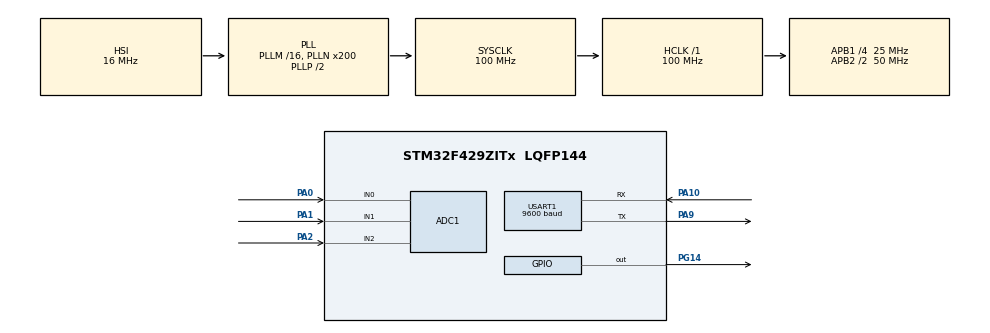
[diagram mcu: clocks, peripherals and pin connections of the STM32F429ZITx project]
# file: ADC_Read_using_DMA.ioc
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ADC1.Channel-0\#ChannelRegularConversion=ADC_CHANNEL_0
ADC1.Channel-1\#ChannelRegularConversion=ADC_CHANNEL_1
ADC1.Channel-2\#ChannelRegularConversion=ADC_CHANNEL_2
ADC1.DMAContinuousRequests=ENABLE
ADC1.EOCSelection=ADC_EOC_SEQ_CONV
ADC1.ExternalTrigConv=ADC_EXTERNALTRIGCONV_T2_TRGO
ADC1.NbrOfConversion=3
ADC1.NbrOfConversionFlag=1
ADC1.Rank-0\#ChannelRegularConversion=1
ADC1.Rank-1\#ChannelRegularConversion=2
ADC1.Rank-2\#ChannelRegularConversion=3
ADC1.SamplingTime-0\#ChannelRegularConversion=ADC_SAMPLETIME_3CYCLES
ADC1.SamplingTime-1\#ChannelRegularConversion=ADC_SAMPLETIME_3CYCLES
ADC1.SamplingTime-2\#ChannelRegularConversion=ADC_SAMPLETIME_3CYCLES
ADC1.ScanConvMode=ENABLE
ADC1.master=1
Dma.ADC1.0.Direction=DMA_PERIPH_TO_MEMORY
Dma.ADC1.0.FIFOMode=DMA_FIFOMODE_DISABLE
Dma.ADC1.0.Instance=DMA2_Stream0
Dma.ADC1.0.MemDataAlignment=DMA_MDATAALIGN_HALFWORD
Dma.ADC1.0.MemInc=DMA_MINC_ENABLE
Dma.ADC1.0.Mode=DMA_CIRCULAR
Dma.ADC1.0.PeriphDataAlignment=DMA_PDATAALIGN_HALFWORD
Dma.ADC1.0.PeriphInc=DMA_PINC_DISABLE
Dma.ADC1.0.Priority=DMA_PRIORITY_MEDIUM
Dma.Request0=ADC1
Mcu.Family=STM32F4
Mcu.Name=STM32F429ZITx
Mcu.Package=LQFP144
NVIC.DMA2_Stream0_IRQn=true\:0\:0\:false\:false\:true\:false\:true\:true
NVIC.PriorityGroup=NVIC_PRIORITYGROUP_4
NVIC.USART1_IRQn=true\:0\:0\:false\:false\:true\:true\:true\:true
PA0/WKUP.Signal=ADCx_IN0
PA1.Signal=ADCx_IN1
PA10.Mode=Asynchronous
PA10.Signal=USART1_RX
PA2.Signal=ADCx_IN2
PA9.Mode=Asynchronous
PA9.Signal=USART1_TX
PG14.Signal=GPIO_Output
ProjectManager.HeapSize=0x200
ProjectManager.StackSize=0x400
ProjectManager.TargetToolchain=STM32CubeIDE
RCC.48MHZClocksFreq_Value=66666666.666666664
RCC.AHBFreq_Value=100000000
RCC.APB1CLKDivider=RCC_HCLK_DIV4
RCC.APB1Freq_Value=25000000
RCC.APB1TimFreq_Value=50000000
RCC.APB2CLKDivider=RCC_HCLK_DIV2
RCC.APB2Freq_Value=50000000
RCC.APB2TimFreq_Value=100000000
RCC.CortexFreq_Value=100000000
RCC.HCLKFreq_Value=100000000
RCC.HSE_VALUE=8000000
RCC.HSI_VALUE=16000000
RCC.LSE_VALUE=32768
RCC.PLLN=200
RCC.PLLQ=3
RCC.PLLSAIN=50
RCC.SYSCLKFreq_VALUE=100000000
RCC.SYSCLKSource=RCC_SYSCLKSOURCE_PLLCLK
RCC.VCOOutputFreq_Value=200000000
SH.ADCx_IN0.0=ADC1_IN0,IN0
SH.ADCx_IN1.0=ADC1_IN1,IN1
SH.ADCx_IN2.0=ADC1_IN2,IN2
TIM2.AutoReloadPreload=TIM_AUTORELOAD_PRELOAD_ENABLE
TIM2.TIM_MasterOutputTrigger=TIM_TRGO_UPDATE
TIM2.TIM_MasterSlaveMode=TIM_MASTERSLAVEMODE_DISABLE
USART1.BaudRate=9600
USART1.VirtualMode=VM_ASYNC
VP_TIM2_VS_ClockSourceINT.Mode=Internal
board=STM32F429I-DISC1

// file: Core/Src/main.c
/* USER CODE BEGIN Header */
/**
  ******************************************************************************
  * @file           : main.c
  * @brief          : Main program body
  ******************************************************************************
  * @attention
  *
  * Copyright (c) 2026 STMicroelectronics.
  * All rights reserved.
  *
  * This software is licensed under terms that can be found in the LICENSE file
  * in the root directory of this software component.
  * If no LICENSE file comes with this software, it is provided AS-IS.
  *
  ******************************************************************************
  */
/* USER CODE END Header */
#include "main.h"

/* USER CODE BEGIN Includes */
#include"stdio.h"
#include"string.h"
#include <math.h>

/* USER CODE END Includes */

/* USER CODE BEGIN PD */

#define ADC_VREF        3.3f
#define ADC_MAX_VALUE   4095.0f

#define R_FIXED         9780.0f

#define NTC_R25         100000.0f
#define NTC_BETA        3950.0f
#define NTC_T25         298.15f

/* USER CODE END PD */

ADC_HandleTypeDef hadc1;
DMA_HandleTypeDef hdma_adc1;

TIM_HandleTypeDef htim2;

UART_HandleTypeDef huart1;

/* USER CODE BEGIN PV */
uint16_t adc_buf[300];
char uart_buf[100];

volatile uint8_t data_ready =0;
/* USER CODE END PV */

void SystemClock_Config(void);
static void MX_GPIO_Init(void);
static void MX_DMA_Init(void);
static void MX_ADC1_Init(void);
static void MX_TIM2_Init(void);
static void MX_USART1_UART_Init(void);

/* USER CODE BEGIN 0 */

float ADC_ToVoltage(uint16_t adc)
{
    return ((float)adc * 3.3f) / 4095.0f;
}

float Thermistor_ToResistance(uint16_t adc)
{
    float voltage = ADC_ToVoltage(adc);

    if (voltage <= 0.0f || voltage >= ADC_VREF)
        return 0.0f;

    return R_FIXED * voltage / (ADC_VREF - voltage);
}

float Thermistor_ToTemperature(uint16_t adc)
{
    float resistance = Thermistor_ToResistance(adc);

    if (resistance <= 0.0f)
        return -999.0f;

    float temperature_K =
        1.0f /
        (
            (1.0f / NTC_T25) +
            (logf(resistance / NTC_R25) / NTC_BETA)
        );

    return temperature_K - 273.15f;
}

float LDR_ToResistance(uint16_t adc)
{
    float voltage = ADC_ToVoltage(adc);

    if (voltage <= 0.0f || voltage >= ADC_VREF)
        return 0.0f;

    return R_FIXED * (ADC_VREF - voltage) / voltage;
}

/* USER CODE END 0 */

int main(void)
{

  /* MCU Configuration--------------------------------------------------------*/

  /* Reset of all peripherals, Initializes the Flash interface and the Systick. */
  HAL_Init();

  /* Configure the system clock */
  SystemClock_Config();

  /* Initialize all configured peripherals */
  MX_GPIO_Init();
  MX_DMA_Init();
  MX_ADC1_Init();
  MX_TIM2_Init();
  MX_USART1_UART_Init();
  /* USER CODE BEGIN 2 */
  HAL_TIM_Base_Start(&htim2);
  HAL_ADC_Start_DMA(&hadc1,(uint32_t*)adc_buf,300);

  /* USER CODE END 2 */

  /* Infinite loop */
  /* USER CODE BEGIN WHILE */
  while (1) {

      if (data_ready) {

          data_ready = 0;

          uint32_t pot_sum = 0;
          uint32_t ldr_sum = 0;
          uint32_t thermistor_sum = 0;

          for (uint16_t i = 0; i < 100; i++){
              pot_sum        += adc_buf[i * 3];
              ldr_sum        += adc_buf[(i * 3) + 1];
              thermistor_sum += adc_buf[(i * 3) + 2];
          }

          uint16_t pot_avg = pot_sum / 100;

          uint16_t ldr_avg = ldr_sum / 100;

          uint16_t thermistor_avg = thermistor_sum / 100;

          float pot_voltage = ADC_ToVoltage(pot_avg);

          float thermistor_resistance = Thermistor_ToResistance(thermistor_avg);

          float temperature = Thermistor_ToTemperature(thermistor_avg);

          float ldr_resistance = LDR_ToResistance(ldr_avg);

          int len = snprintf( uart_buf,sizeof(uart_buf),
              " POT        : %.3f V\r\n"
              " TEMPERATURE: %.2f C\r\n"
              " NTC        : %.2f kOhm\r\n"
              " LDR        : %.2f kOhm\r\n"
              "\r\n",
              pot_voltage,
              temperature,
              thermistor_resistance / 1000.0f,
              ldr_resistance / 1000.0f
          );

          if (len > 0)
          {
              HAL_UART_Transmit( &huart1, (uint8_t *)uart_buf, len, HAL_MAX_DELAY );
          }
          HAL_ADC_Start_DMA( &hadc1, (uint32_t *)adc_buf, 300 );
      }
    /* USER CODE END WHILE */

  }
}

void SystemClock_Config(void)
{
  RCC_OscInitTypeDef RCC_OscInitStruct = {0};
  RCC_ClkInitTypeDef RCC_ClkInitStruct = {0};

  /** Configure the main internal regulator output voltage
  */
  __HAL_RCC_PWR_CLK_ENABLE();
  __HAL_PWR_VOLTAGESCALING_CONFIG(PWR_REGULATOR_VOLTAGE_SCALE3);

  /** Initializes the RCC Oscillators according to the specified parameters
  * in the RCC_OscInitTypeDef structure.
  */
  RCC_OscInitStruct.OscillatorType = RCC_OSCILLATORTYPE_HSI;
  RCC_OscInitStruct.HSIState = RCC_HSI_ON;
  RCC_OscInitStruct.HSICalibrationValue = RCC_HSICALIBRATION_DEFAULT;
  RCC_OscInitStruct.PLL.PLLState = RCC_PLL_ON;
  RCC_OscInitStruct.PLL.PLLSource = RCC_PLLSOURCE_HSI;
  RCC_OscInitStruct.PLL.PLLM = 16;
  RCC_OscInitStruct.PLL.PLLN = 200;
  RCC_OscInitStruct.PLL.PLLP = RCC_PLLP_DIV2;
  RCC_OscInitStruct.PLL.PLLQ = 3;
  if (HAL_RCC_OscConfig(&RCC_OscInitStruct) != HAL_OK)
  {
    Error_Handler();
  }

  /** Initializes the CPU, AHB and APB buses clocks
  */
  RCC_ClkInitStruct.ClockType = RCC_CLOCKTYPE_HCLK|RCC_CLOCKTYPE_SYSCLK
                              |RCC_CLOCKTYPE_PCLK1|RCC_CLOCKTYPE_PCLK2;
  RCC_ClkInitStruct.SYSCLKSource = RCC_SYSCLKSOURCE_PLLCLK;
  RCC_ClkInitStruct.AHBCLKDivider = RCC_SYSCLK_DIV1;
  RCC_ClkInitStruct.APB1CLKDivider = RCC_HCLK_DIV4;
  RCC_ClkInitStruct.APB2CLKDivider = RCC_HCLK_DIV2;

  if (HAL_RCC_ClockConfig(&RCC_ClkInitStruct, FLASH_LATENCY_3) != HAL_OK)
  {
    Error_Handler();
  }
}

static void MX_ADC1_Init(void)
{

  ADC_AnalogWDGConfTypeDef AnalogWDGConfig = {0};
  ADC_ChannelConfTypeDef sConfig = {0};

  /** Configure the global features of the ADC (Clock, Resolution, Data Alignment and number of conversion)
  */
  hadc1.Instance = ADC1;
  hadc1.Init.ClockPrescaler = ADC_CLOCK_SYNC_PCLK_DIV2;
  hadc1.Init.Resolution = ADC_RESOLUTION_12B;
  hadc1.Init.ScanConvMode = ENABLE;
  hadc1.Init.ContinuousConvMode = DISABLE;
  hadc1.Init.DiscontinuousConvMode = DISABLE;
  hadc1.Init.ExternalTrigConvEdge = ADC_EXTERNALTRIGCONVEDGE_RISING;
  hadc1.Init.ExternalTrigConv = ADC_EXTERNALTRIGCONV_T2_TRGO;
  hadc1.Init.DataAlign = ADC_DATAALIGN_RIGHT;
  hadc1.Init.NbrOfConversion = 3;
  hadc1.Init.DMAContinuousRequests = ENABLE;
  hadc1.Init.EOCSelection = ADC_EOC_SEQ_CONV;
  if (HAL_ADC_Init(&hadc1) != HAL_OK)
  {
    Error_Handler();
  }

  /** Configure the analog watchdog
  */
  AnalogWDGConfig.WatchdogMode = ADC_ANALOGWATCHDOG_SINGLE_REG;
  AnalogWDGConfig.HighThreshold = 0;
  AnalogWDGConfig.LowThreshold = 0;
  AnalogWDGConfig.Channel = ADC_CHANNEL_0;
  AnalogWDGConfig.ITMode = DISABLE;
  if (HAL_ADC_AnalogWDGConfig(&hadc1, &AnalogWDGConfig) != HAL_OK)
  {
    Error_Handler();
  }

  /** Configure for the selected ADC regular channel its corresponding rank in the sequencer and its sample time.
  */
  sConfig.Channel = ADC_CHANNEL_0;
  sConfig.Rank = 1;
  sConfig.SamplingTime = ADC_SAMPLETIME_3CYCLES;
  if (HAL_ADC_ConfigChannel(&hadc1, &sConfig) != HAL_OK)
  {
    Error_Handler();
  }

  /** Configure for the selected ADC regular channel its corresponding rank in the sequencer and its sample time.
  */
  sConfig.Channel = ADC_CHANNEL_3;
  sConfig.Rank = 2;
//  sConfig.SamplingTime = ADC_SAMPLETIME_15CYCLES;
  if (HAL_ADC_ConfigChannel(&hadc1, &sConfig) != HAL_OK)
  {
    Error_Handler();
  }

  /** Configure for the selected ADC regular channel its corresponding rank in the sequencer and its sample time.
  */
  sConfig.Channel = ADC_CHANNEL_4;
  sConfig.Rank = 3;
  if (HAL_ADC_ConfigChannel(&hadc1, &sConfig) != HAL_OK)
  {
    Error_Handler();
  }

}

static void MX_TIM2_Init(void)
{

  TIM_ClockConfigTypeDef sClockSourceConfig = {0};
  TIM_MasterConfigTypeDef sMasterConfig = {0};

  htim2.Instance = TIM2;
  htim2.Init.Prescaler = 9999;
  htim2.Init.CounterMode = TIM_COUNTERMODE_UP;
  htim2.Init.Period =99;
  htim2.Init.ClockDivision = TIM_CLOCKDIVISION_DIV1;
  htim2.Init.AutoReloadPreload = TIM_AUTORELOAD_PRELOAD_ENABLE;
  if (HAL_TIM_Base_Init(&htim2) != HAL_OK)
  {
    Error_Handler();
  }
  sClockSourceConfig.ClockSource = TIM_CLOCKSOURCE_INTERNAL;
  if (HAL_TIM_ConfigClockSource(&htim2, &sClockSourceConfig) != HAL_OK)
  {
    Error_Handler();
  }
  sMasterConfig.MasterOutputTrigger = TIM_TRGO_UPDATE;
  sMasterConfig.MasterSlaveMode = TIM_MASTERSLAVEMODE_DISABLE;
  if (HAL_TIMEx_MasterConfigSynchronization(&htim2, &sMasterConfig) != HAL_OK)
  {
    Error_Handler();
  }

}

static void MX_USART1_UART_Init(void)
{

  huart1.Instance = USART1;
  huart1.Init.BaudRate = 9600;
  huart1.Init.WordLength = UART_WORDLENGTH_8B;
  huart1.Init.StopBits = UART_STOPBITS_1;
  huart1.Init.Parity = UART_PARITY_NONE;
  huart1.Init.Mode = UART_MODE_TX_RX;
  huart1.Init.HwFlowCtl = UART_HWCONTROL_NONE;
  huart1.Init.OverSampling = UART_OVERSAMPLING_16;
  if (HAL_UART_Init(&huart1) != HAL_OK)
  {
    Error_Handler();
  }

}

static void MX_DMA_Init(void)
{

  /* DMA controller clock enable */
  __HAL_RCC_DMA2_CLK_ENABLE();

  /* DMA interrupt init */
  /* DMA2_Stream0_IRQn interrupt configuration */
  HAL_NVIC_SetPriority(DMA2_Stream0_IRQn, 0, 0);
  HAL_NVIC_EnableIRQ(DMA2_Stream0_IRQn);

}

static void MX_GPIO_Init(void)
{
  GPIO_InitTypeDef GPIO_InitStruct = {0};

  /* GPIO Ports Clock Enable */
  __HAL_RCC_GPIOA_CLK_ENABLE();
  __HAL_RCC_GPIOG_CLK_ENABLE();

  /*Configure GPIO pin Output Level */
  HAL_GPIO_WritePin(GPIOG, GPIO_PIN_14, GPIO_PIN_RESET);

  /*Configure GPIO pin : PG14 */
  GPIO_InitStruct.Pin = GPIO_PIN_14;
  GPIO_InitStruct.Mode = GPIO_MODE_OUTPUT_PP;
  GPIO_InitStruct.Pull = GPIO_NOPULL;
  GPIO_InitStruct.Speed = GPIO_SPEED_FREQ_LOW;
  HAL_GPIO_Init(GPIOG, &GPIO_InitStruct);

}

/* USER CODE BEGIN 4 */

///    to convert to real values

void HAL_ADC_ConvCpltCallback(ADC_HandleTypeDef *hadc){

	if(hadc->Instance == ADC1){
		data_ready =1;
		 HAL_GPIO_TogglePin(GPIOG, GPIO_PIN_14);
	}
}
/* USER CODE END 4 */

void Error_Handler(void)
{
  __disable_irq();
  while (1)
  {
  }
}
